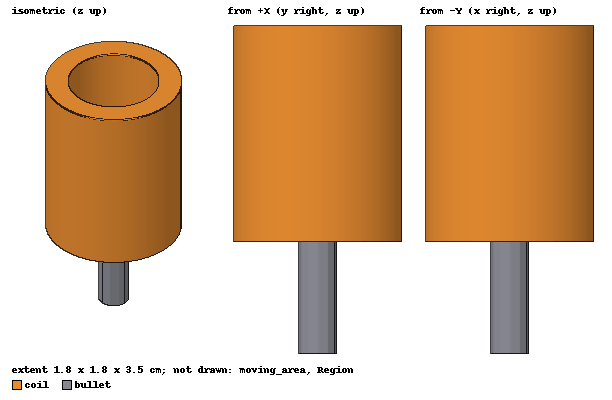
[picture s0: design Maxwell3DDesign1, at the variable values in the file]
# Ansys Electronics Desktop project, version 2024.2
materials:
  vacuum: permittivity=1
  iron: permeability=4000 conductivity=10300000
  copper: permeability=0.999991 conductivity=58000000
  air: permittivity=1.0006 permeability=1.0000004

design Maxwell3DDesign1 (Maxwell 3D, Transient, model units cm)
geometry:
  Cylinder1 = cylinder(axis=Z, base_centre=(0cm, 0cm, 0cm), radius=0.6cm, height=2.3cm)
  coil [copper] = cylinder(axis=Z, base_centre=(0cm, 0cm, 0cm), radius=0.9cm, height=2.3cm)
  coil.subtract(Cylinder1)
  Region [vacuum] = region(percentage_offset=100 on all sides)
  coil_Section1 [copper] = coil.section(plane=ZX)
  moving_area [air] = polyhedron(axis=Z, centre=(0cm, 0cm, -1.5cm), first_corner=(0.3cm, 0cm, -1.5cm), sides=12, height=9cm)
  coil_Section1_Separate1 [copper] = coil_Section1.separate_bodies()
  bullet [iron] = polyhedron(axis=Z, centre=(0cm, 0cm, -1.2cm), first_corner=(0.2cm, 0cm, -1.2cm), sides=12, height=1.2cm)
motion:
  MotionSetup1: Band Move_Type=Translate Coordinate_System=Global PostProcessing_Coordinate_System=Global Axis=Z Is_Positive=true InitPos=0cm NegativePos=0cm PositivePos=5cm Velocity=0m_per_sec Mass=2gram Damping=0 Load_Force=0newton Objects=moving_area
  Moving1: Moving Objects=bullet
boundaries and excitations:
  CoilTerminal1: Coil Terminal Objects=coil_Section1_Separate1 Conductor_number=77 Winding=Winding1 Point_out_of_terminal=false
  Winding1: Winding Group Type=External IsSolid=false Current=0mA ParallelBranchesNum=1
  eddy effects on: coil
  external circuit: "* Design: Project2_ckt\"
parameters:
  Force1: Force Reference_CS=Global Is_Virtual=true Objects=bullet
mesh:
  Length1: LengthBased Objects=coil MaxLength=0.4cm
  Length2: LengthBased Objects=bullet MaxLength=0.2cm
  initial mesh: GlobalCurvilinear{Apply}
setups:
  Setup1: Transient NonlinearSolverResidual=0.005 ScalarPotential="Second Order" StopTime=5ms TimeStep=0.5ms SaveFieldsType=Custom SweepRanges{0ms to 5ms step 0.5ms} NumberSolveSteps=1 RangeStart=0s RangeEnd=0.1s
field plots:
  Mag_B1: B on Setup1 : Transient at Time=0s
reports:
  Speed Plot 1: Speed vs Time on Setup1 : Transient
  Position Plot 1: Position vs Time on Setup1 : Transient

design Project2_ckt (Maxwell Circuit)
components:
  Winding_2 = Winding(Name=Winding1)
  Cap_4 = Cap(C=1000uF IC=100V)
  SW_V_5 = SW_V(MOD=SW1 ID_V=IVoltmeter10)
  Res_6 = Res(R=20mOhm)
  DIODE_7 = DIODE(MOD=D1)
  VPulse_8 = VPulse()
  VoltmeterG_10 = VoltmeterG()
  Res_11 = Res()
  SW_VModel_13 = SW_VModel(DeviceName=SW1)
  DIODE_Model_14 = DIODE_Model(DeviceName=D1)
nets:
  0: DIODE_7.0, Cap_4.1, VPulse_8.1, Winding_2.1, Res_11.0
  net_1: Cap_4.0, SW_V_5.0
  net_2: DIODE_7.1, Res_6.0, SW_V_5.1
  net_3: Res_6.1, Winding_2.0
  net_4: VoltmeterG_10.0, VPulse_8.0, Res_11.1
